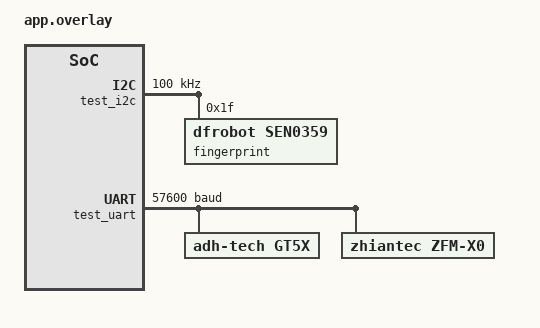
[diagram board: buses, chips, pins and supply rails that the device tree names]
/*
 * SPDX-FileCopyrightText: Copyright The Zephyr Project Contributors
 * SPDX-License-Identifier: Apache-2.0
 */

#include <zephyr/dt-bindings/i2c/i2c.h>

/ {
	test {
		#address-cells = <1>;
		#size-cells = <1>;

		test_i2c: i2c@11112222 {
			compatible = "vnd,i2c";
			reg = <0x11112222 0x1000>;
			#address-cells = <1>;
			#size-cells = <0>;
			clock-frequency = <I2C_BITRATE_STANDARD>;
			status = "okay";

			fingerprint@1f {
				compatible = "dfrobot,sen0359";
				reg = <0x1f>;
			};
		};

		test_uart: uart@11113333 {
			compatible = "vnd,serial";
			reg = <0x11113333 0x1000>;
			current-speed = <57600>;
			status = "okay";

			gt5x {
				compatible = "adh-tech,gt5x";
				max-templates = <200>;
				template-size = <498>;
			};

			zfm-x0 {
				compatible = "zhiantec,zfm-x0";
			};
		};
	};
};
